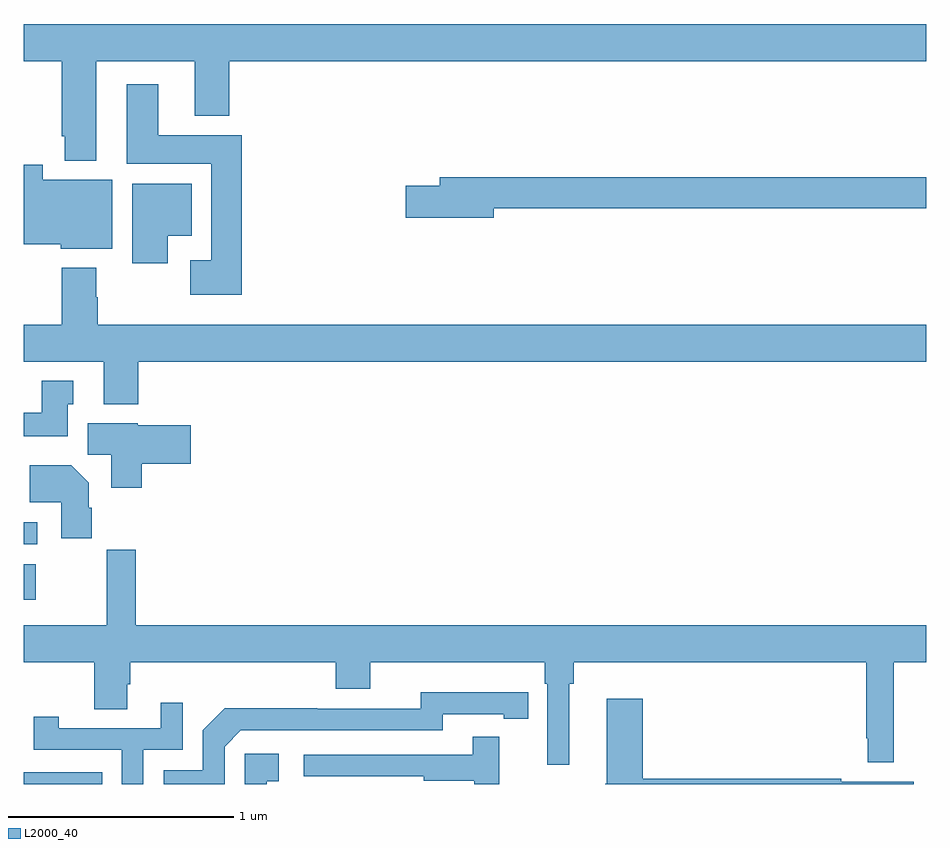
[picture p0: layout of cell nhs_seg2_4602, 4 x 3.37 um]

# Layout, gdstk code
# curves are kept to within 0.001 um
import gdstk
lib = gdstk.Library(unit=1e-6, precision=1e-09)
def R(c, l, rs):  # rectangles x0, y0, x1, y1
    for r in rs: c.add(gdstk.rectangle(r[:2], r[2:], *l))
def P(c, l, *ps):  # polygons
    for p in ps: c.add(gdstk.Polygon(p, *l))
L2000_40 = (2000, 40)

nhs_seg2_4602 = lib.new_cell('nhs_seg2_4602')
R(nhs_seg2_4602, L2000_40, [(361,609.8,361.349,609.852), (361,610.616,361.054,610.774), (361,610.863,361.06,610.959)])
P(nhs_seg2_4602, L2000_40, [(361.321,613.004),(361.757,613.004),(361.757,612.761),(361.91,612.761),(361.91,613.004),(365,613.004),(365,613.168),(361,613.168),(361,613.004),(361.169,613.004),(361.169,612.67),(361.181,612.67),(361.181,612.563),(361.321,612.563)],
  [(361.967,612.676),(361.597,612.676),(361.597,612.901),(361.457,612.901),(361.457,612.548),(361.832,612.548),(361.832,612.121),(361.737,612.121),(361.737,611.969),(361.967,611.969)],
  [(361.393,612.478),(361.084,612.478),(361.084,612.544),(361,612.544),(361,612.191),(361.164,612.191),(361.164,612.173),(361.393,612.173)],
  [(363.082,612.352),(365,612.352),(365,612.488),(362.843,612.488),(362.843,612.452),(362.694,612.452),(362.694,612.31),(363.082,612.31)],
  [(361.639,612.23),(361.744,612.23),(361.744,612.46),(361.481,612.46),(361.481,612.108),(361.639,612.108)],
  [(361.508,611.672),(365,611.672),(365,611.836),(361.329,611.836),(361.329,611.957),(361.321,611.957),(361.321,612.088),(361.169,612.088),(361.169,611.836),(361,611.836),(361,611.672),(361.355,611.672),(361.355,611.483),(361.508,611.483)],
  [(361.195,611.484),(361.219,611.484),(361.219,611.587),(361.079,611.587),(361.079,611.446),(361,611.446),(361,611.342),(361.195,611.342)],
  [(361.523,611.219),(361.741,611.219),(361.741,611.389),(361.506,611.389),(361.506,611.398),(361.283,611.398),(361.283,611.26),(361.388,611.26),(361.388,611.112),(361.523,611.112)],
  [(361.301,611.024),(361.288,611.024),(361.288,611.134),(361.21,611.212),(361.027,611.212),(361.027,611.048),(361.166,611.048),(361.166,610.89),(361.301,610.89)],
  [(363.418,610.244),(363.437,610.244),(363.437,610.34),(364.734,610.34),(364.734,610.003),(364.74,610.003),(364.74,609.896),(364.855,609.896),(364.855,610.34),(365,610.34),(365,610.504),(361.496,610.504),(361.496,610.837),(361.368,610.837),(361.368,610.504),(361,610.504),(361,610.34),(361.312,610.34),(361.312,610.132),(361.459,610.132),(361.459,610.242),(361.472,610.242),(361.472,610.34),(362.384,610.34),(362.384,610.223),(362.536,610.223),(362.536,610.34),(363.308,610.34),(363.308,610.244),(363.321,610.244),(363.321,609.885),(363.418,609.885)],
  [(361.89,609.966),(361.962,610.038),(362.856,610.038),(362.856,610.11),(363.128,610.11),(363.128,610.09),(363.236,610.09),(363.236,610.206),(362.76,610.207),(362.76,610.134),(362.3,610.134),(362.3,610.136),(361.892,610.136),(361.794,610.038),(361.794,609.861),(361.62,609.861),(361.62,609.8),(361.89,609.8)],
  [(364.945,609.811),(364.622,609.811),(364.622,609.824),(363.743,609.824),(363.743,610.177),(363.584,610.177),(363.584,609.801),(363.577,609.801),(363.577,609.8),(364.945,609.8)],
  [(361.53,609.951),(361.704,609.951),(361.704,610.159),(361.607,610.159),(361.607,610.047),(361.156,610.047),(361.156,610.099),(361.045,610.099),(361.045,609.951),(361.434,609.951),(361.434,609.8),(361.53,609.8)],
  [(363.107,610.009),(362.989,610.009),(362.989,609.93),(362.241,609.93),(362.241,609.834),(362.773,609.834),(362.773,609.814),(362.997,609.814),(362.997,609.8),(363.107,609.8)],
  [(362.078,609.813),(362.131,609.813),(362.131,609.934),(361.98,609.934),(361.98,609.8),(362.078,609.8)])

lib.write_gds('nhs_seg2_4602.gds')
